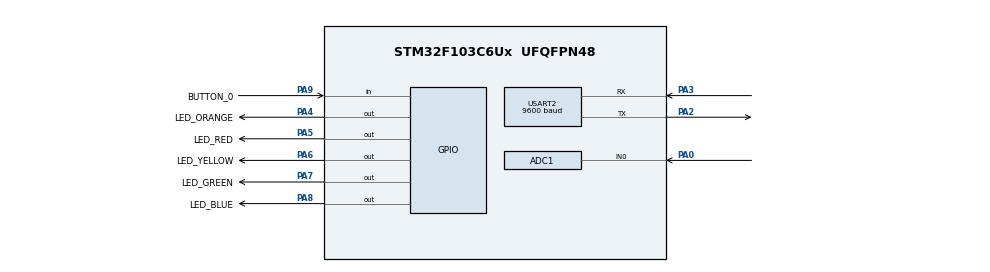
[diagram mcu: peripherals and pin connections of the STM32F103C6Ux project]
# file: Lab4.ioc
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ADC1.Channel-0\#ChannelRegularConversion=ADC_CHANNEL_0
ADC1.ContinuousConvMode=ENABLE
ADC1.NbrOfConversionFlag=1
ADC1.Rank-0\#ChannelRegularConversion=1
ADC1.SamplingTime-0\#ChannelRegularConversion=ADC_SAMPLETIME_1CYCLE_5
ADC1.master=1
Mcu.Family=STM32F1
Mcu.Name=STM32F103C6Ux
Mcu.Package=UFQFPN48
NVIC.PriorityGroup=NVIC_PRIORITYGROUP_4
NVIC.TIM2_IRQn=true\:0\:0\:false\:false\:true\:true\:true
NVIC.USART2_IRQn=true\:0\:0\:false\:false\:true\:true\:true
PA0-WKUP.Signal=ADCx_IN0
PA2.Mode=Asynchronous
PA2.Signal=USART2_TX
PA3.Mode=Asynchronous
PA3.Signal=USART2_RX
PA4.GPIO_Label=LED_ORANGE
PA4.Signal=GPIO_Output
PA5.GPIO_Label=LED_RED
PA5.Signal=GPIO_Output
PA6.GPIO_Label=LED_YELLOW
PA6.Signal=GPIO_Output
PA7.GPIO_Label=LED_GREEN
PA7.Signal=GPIO_Output
PA8.GPIO_Label=LED_BLUE
PA8.Signal=GPIO_Output
PA9.GPIO_Label=BUTTON_0
PA9.Signal=GPIO_Input
ProjectManager.HeapSize=0x200
ProjectManager.StackSize=0x400
ProjectManager.TargetToolchain=STM32CubeIDE
RCC.APB1Freq_Value=8000000
RCC.APB2Freq_Value=8000000
SH.ADCx_IN0.0=ADC1_IN0,IN0
TIM2.Period=9
TIM2.Prescaler=7999
USART2.BaudRate=9600
USART2.VirtualMode=VM_ASYNC
VP_SYS_VS_ND.Mode=No_Debug
VP_TIM2_VS_ClockSourceINT.Mode=Internal
board=custom

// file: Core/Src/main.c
/* USER CODE BEGIN Header */
/**
  ******************************************************************************
  * @file           : main.c
  * @brief          : Main program body
  ******************************************************************************
  * @attention
  *
  * <h2><center>&copy; Copyright (c) 2022 STMicroelectronics.
  * All rights reserved.</center></h2>
  *
  * This software component is licensed by ST under BSD 3-Clause license,
  * the "License"; You may not use this file except in compliance with the
  * License. You may obtain a copy of the License at:
  *                        opensource.org/licenses/BSD-3-Clause
  *
  ******************************************************************************
  */
/* USER CODE END Header */
#include "main.h"

/* USER CODE BEGIN Includes */
#include "software_timer.h"
#include "scheduler.h"
#include "button.h"
#include <stdio.h>
/* USER CODE END Includes */

ADC_HandleTypeDef hadc1;

TIM_HandleTypeDef htim2;

UART_HandleTypeDef huart2;

void SystemClock_Config(void);
static void MX_GPIO_Init(void);
static void MX_TIM2_Init(void);
static void MX_ADC1_Init(void);
static void MX_USART2_UART_Init(void);

/* USER CODE BEGIN 0 */
void Led_Display_Red(){
	HAL_GPIO_TogglePin(LED_RED_GPIO_Port, LED_RED_Pin);
}
void Led_Display_Green(){
	HAL_GPIO_TogglePin(LED_GREEN_GPIO_Port, LED_GREEN_Pin);
}
void Led_Display_Yellow(){
	HAL_GPIO_TogglePin(LED_YELLOW_GPIO_Port, LED_YELLOW_Pin);
}
void Led_Display_Orange(){
	HAL_GPIO_TogglePin(LED_ORANGE_GPIO_Port, LED_ORANGE_Pin);
}
void Led_Display_Blue(){
	if(is_Button0_Pressed()){
		HAL_GPIO_TogglePin(LED_BLUE_GPIO_Port, LED_BLUE_Pin);
	}
}

uint8_t temp = 0;
char buffer[10] = {0, 0, 0, 0, 0, 0, 0, 0, 0, 0};
void HAL_UART_RxCpltCallback ( UART_HandleTypeDef * huart ) {
	if(huart-> Instance == USART2){
//		HAL_UART_Transmit(&huart2 , &temp , 1 , 50) ;
//		HAL_UART_Receive_IT(&huart2 , &temp , 1) ;
	}
}
/* USER CODE END 0 */

int main(void)
{

  /* MCU Configuration--------------------------------------------------------*/

  /* Reset of all peripherals, Initializes the Flash interface and the Systick. */
  HAL_Init();

  /* USER CODE BEGIN Init */
  SCH_Init();

  /* USER CODE END Init */

  /* Configure the system clock */
  SystemClock_Config();

  /* Initialize all configured peripherals */
  MX_GPIO_Init();
  MX_TIM2_Init();
  MX_ADC1_Init();
  MX_USART2_UART_Init();
  /* USER CODE BEGIN 2 */
  HAL_TIM_Base_Start_IT(&htim2);
  HAL_UART_Receive_IT(&huart2 , &temp , 1);
  /* USER CODE END 2 */

  /* Infinite loop */
  /* USER CODE BEGIN WHILE */
  HAL_GPIO_WritePin(GPIOA, LED_GREEN_Pin|LED_YELLOW_Pin|LED_RED_Pin|LED_BLUE_Pin|LED_ORANGE_Pin, GPIO_PIN_SET);
  SCH_Add_Task(Led_Display_Red, 0, 300);
  SCH_Add_Task(Led_Display_Yellow, 100, 300);
  SCH_Add_Task(Led_Display_Green, 200, 300);
  SCH_Add_Task(Led_Display_Orange, 500, 0);
  SCH_Add_Task(Led_Display_Blue, 50, 100);
  int counter = 0;
//  setTimer1(1000);
//  uint32_t ADC_value = 0;
  while (1)
  {
    /* USER CODE END WHILE */

    /* USER CODE BEGIN 3 */
	  SCH_Dispatch_Tasks();

	  //ADC_value = HAL_ADC_GetValue(&hadc1);
	  HAL_UART_Transmit(&huart2, (void *)buffer, sprintf(buffer, "%ds \r\n", counter), 50);
	  HAL_Delay(950);
	  counter++;
	  //HAL_UART_Transmit(&huart2, "Hello", 5, 100);
  }
  /* USER CODE END 3 */
}

void SystemClock_Config(void)
{
  RCC_OscInitTypeDef RCC_OscInitStruct = {0};
  RCC_ClkInitTypeDef RCC_ClkInitStruct = {0};
  RCC_PeriphCLKInitTypeDef PeriphClkInit = {0};

  /** Initializes the RCC Oscillators according to the specified parameters
  * in the RCC_OscInitTypeDef structure.
  */
  RCC_OscInitStruct.OscillatorType = RCC_OSCILLATORTYPE_HSI;
  RCC_OscInitStruct.HSIState = RCC_HSI_ON;
  RCC_OscInitStruct.HSICalibrationValue = RCC_HSICALIBRATION_DEFAULT;
  RCC_OscInitStruct.PLL.PLLState = RCC_PLL_NONE;
  if (HAL_RCC_OscConfig(&RCC_OscInitStruct) != HAL_OK)
  {
    Error_Handler();
  }
  /** Initializes the CPU, AHB and APB buses clocks
  */
  RCC_ClkInitStruct.ClockType = RCC_CLOCKTYPE_HCLK|RCC_CLOCKTYPE_SYSCLK
                              |RCC_CLOCKTYPE_PCLK1|RCC_CLOCKTYPE_PCLK2;
  RCC_ClkInitStruct.SYSCLKSource = RCC_SYSCLKSOURCE_HSI;
  RCC_ClkInitStruct.AHBCLKDivider = RCC_SYSCLK_DIV1;
  RCC_ClkInitStruct.APB1CLKDivider = RCC_HCLK_DIV1;
  RCC_ClkInitStruct.APB2CLKDivider = RCC_HCLK_DIV1;

  if (HAL_RCC_ClockConfig(&RCC_ClkInitStruct, FLASH_LATENCY_0) != HAL_OK)
  {
    Error_Handler();
  }
  PeriphClkInit.PeriphClockSelection = RCC_PERIPHCLK_ADC;
  PeriphClkInit.AdcClockSelection = RCC_ADCPCLK2_DIV2;
  if (HAL_RCCEx_PeriphCLKConfig(&PeriphClkInit) != HAL_OK)
  {
    Error_Handler();
  }
}

static void MX_ADC1_Init(void)
{

  ADC_ChannelConfTypeDef sConfig = {0};

  /** Common config
  */
  hadc1.Instance = ADC1;
  hadc1.Init.ScanConvMode = ADC_SCAN_DISABLE;
  hadc1.Init.ContinuousConvMode = ENABLE;
  hadc1.Init.DiscontinuousConvMode = DISABLE;
  hadc1.Init.ExternalTrigConv = ADC_SOFTWARE_START;
  hadc1.Init.DataAlign = ADC_DATAALIGN_RIGHT;
  hadc1.Init.NbrOfConversion = 1;
  if (HAL_ADC_Init(&hadc1) != HAL_OK)
  {
    Error_Handler();
  }
  /** Configure Regular Channel
  */
  sConfig.Channel = ADC_CHANNEL_0;
  sConfig.Rank = ADC_REGULAR_RANK_1;
  sConfig.SamplingTime = ADC_SAMPLETIME_1CYCLE_5;
  if (HAL_ADC_ConfigChannel(&hadc1, &sConfig) != HAL_OK)
  {
    Error_Handler();
  }

}

static void MX_TIM2_Init(void)
{

  TIM_ClockConfigTypeDef sClockSourceConfig = {0};
  TIM_MasterConfigTypeDef sMasterConfig = {0};

  htim2.Instance = TIM2;
  htim2.Init.Prescaler = 7999;
  htim2.Init.CounterMode = TIM_COUNTERMODE_UP;
  htim2.Init.Period = 9;
  htim2.Init.ClockDivision = TIM_CLOCKDIVISION_DIV1;
  htim2.Init.AutoReloadPreload = TIM_AUTORELOAD_PRELOAD_DISABLE;
  if (HAL_TIM_Base_Init(&htim2) != HAL_OK)
  {
    Error_Handler();
  }
  sClockSourceConfig.ClockSource = TIM_CLOCKSOURCE_INTERNAL;
  if (HAL_TIM_ConfigClockSource(&htim2, &sClockSourceConfig) != HAL_OK)
  {
    Error_Handler();
  }
  sMasterConfig.MasterOutputTrigger = TIM_TRGO_RESET;
  sMasterConfig.MasterSlaveMode = TIM_MASTERSLAVEMODE_DISABLE;
  if (HAL_TIMEx_MasterConfigSynchronization(&htim2, &sMasterConfig) != HAL_OK)
  {
    Error_Handler();
  }

}

static void MX_USART2_UART_Init(void)
{

  huart2.Instance = USART2;
  huart2.Init.BaudRate = 9600;
  huart2.Init.WordLength = UART_WORDLENGTH_8B;
  huart2.Init.StopBits = UART_STOPBITS_1;
  huart2.Init.Parity = UART_PARITY_NONE;
  huart2.Init.Mode = UART_MODE_TX_RX;
  huart2.Init.HwFlowCtl = UART_HWCONTROL_NONE;
  huart2.Init.OverSampling = UART_OVERSAMPLING_16;
  if (HAL_UART_Init(&huart2) != HAL_OK)
  {
    Error_Handler();
  }

}

static void MX_GPIO_Init(void)
{
  GPIO_InitTypeDef GPIO_InitStruct = {0};

  /* GPIO Ports Clock Enable */
  __HAL_RCC_GPIOA_CLK_ENABLE();

  /*Configure GPIO pin Output Level */
  HAL_GPIO_WritePin(GPIOA, LED_ORANGE_Pin|LED_RED_Pin|LED_YELLOW_Pin|LED_GREEN_Pin
                          |LED_BLUE_Pin, GPIO_PIN_RESET);

  /*Configure GPIO pins : LED_ORANGE_Pin LED_RED_Pin LED_YELLOW_Pin LED_GREEN_Pin
                           LED_BLUE_Pin */
  GPIO_InitStruct.Pin = LED_ORANGE_Pin|LED_RED_Pin|LED_YELLOW_Pin|LED_GREEN_Pin
                          |LED_BLUE_Pin;
  GPIO_InitStruct.Mode = GPIO_MODE_OUTPUT_PP;
  GPIO_InitStruct.Pull = GPIO_NOPULL;
  GPIO_InitStruct.Speed = GPIO_SPEED_FREQ_LOW;
  HAL_GPIO_Init(GPIOA, &GPIO_InitStruct);

  /*Configure GPIO pin : BUTTON_0_Pin */
  GPIO_InitStruct.Pin = BUTTON_0_Pin;
  GPIO_InitStruct.Mode = GPIO_MODE_INPUT;
  GPIO_InitStruct.Pull = GPIO_NOPULL;
  HAL_GPIO_Init(BUTTON_0_GPIO_Port, &GPIO_InitStruct);

}

/* USER CODE BEGIN 4 */
void HAL_TIM_PeriodElapsedCallback ( TIM_HandleTypeDef * htim )
{
//	if(timer1_flag == 1){
//		timer1_flag = 0;
//		HAL_GPIO_TogglePin(LED_YELLOW_GPIO_Port, LED_YELLOW_Pin);
//		setTimer1(1000);
//	}
//	timerRun();
	SCH_Update();
	getKeyInput_0();
}
/* USER CODE END 4 */

void Error_Handler(void)
{
  __disable_irq();
  while (1)
  {
  }
}

/************************ (C) COPYRIGHT STMicroelectronics *****END OF FILE****/
